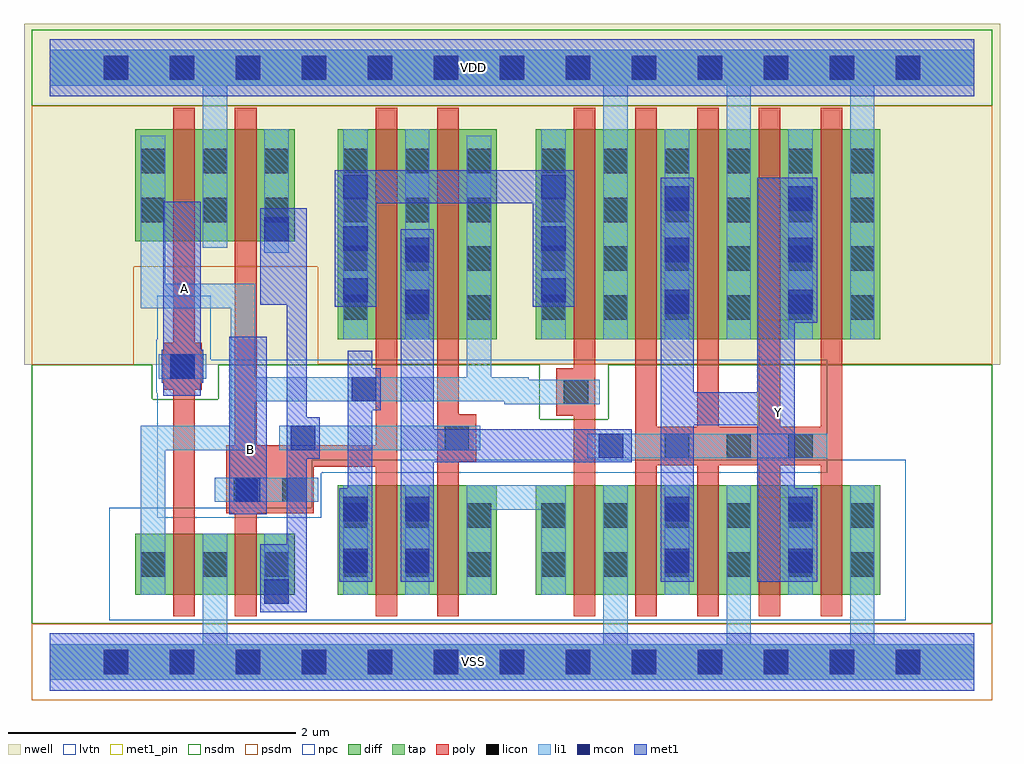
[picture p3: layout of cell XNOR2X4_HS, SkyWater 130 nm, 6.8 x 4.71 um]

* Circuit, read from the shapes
.subckt XNOR2X4_HS A B VDD VSS Y
XM1 VSS A n1 VSS sky130_fd_pr__nfet_01v8_lvt w=0.425 l=0.15
XM2 n2 B VSS VSS sky130_fd_pr__nfet_01v8_lvt w=0.425 l=0.15
XM3 n3 B n1 VSS sky130_fd_pr__nfet_01v8_lvt w=0.76 l=0.15
XM4 n4 n2 n3 VSS sky130_fd_pr__nfet_01v8_lvt w=0.76 l=0.15
XM5 VSS n1 n4 VSS sky130_fd_pr__nfet_01v8_lvt w=0.76 l=0.15
XM6 Y n3 VSS VSS sky130_fd_pr__nfet_01v8_lvt w=0.76 l=0.15 m=4
XM7 VDD A n1 VDD sky130_fd_pr__pfet_01v8 w=0.78 l=0.15
XM8 n2 B VDD VDD sky130_fd_pr__pfet_01v8 w=0.78 l=0.15
XM9 n3 B n5 VDD sky130_fd_pr__pfet_01v8 w=1.46 l=0.15
XM10 n1 n2 n3 VDD sky130_fd_pr__pfet_01v8 w=1.46 l=0.15
XM11 VDD n1 n5 VDD sky130_fd_pr__pfet_01v8 w=1.46 l=0.15
XM12 Y n3 VDD VDD sky130_fd_pr__pfet_01v8 w=1.46 l=0.15 m=4
.ends

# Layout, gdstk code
from math import pi, radians
import gdstk
lib = gdstk.Library(unit=1e-6, precision=1e-09)
def R(c, l, rs):  # rectangles x0, y0, x1, y1
    for r in rs: c.add(gdstk.rectangle(r[:2], r[2:], *l))
def A(c, l, x, y, w, h, nx, ny, dx, dy):  # array of equal rectangles
    R(c, l, [(x+i*dx, y+j*dy, x+i*dx+w, y+j*dy+h) for i in range(nx) for j in range(ny)])
def P(c, l, *ps):  # polygons
    for p in ps: c.add(gdstk.Polygon(p, *l))
nwell = (64, 20)
diff = (65, 20)
tap = (65, 44)
poly = (66, 20)
licon = (66, 44)
li1 = (67, 20)
mcon = (67, 44)
met1_pin = (68, 16)
met1 = (68, 20)
nsdm = (93, 44)
psdm = (94, 20)
npc = (95, 20)
lvtn = (125, 44)

polyconn_cdns_7587291728 = lib.new_cell('polyConn_CDNS_758729172860')
R(polyconn_cdns_7587291728, poly, [(-0.165,-0.135,0.165,0.135)])
R(polyconn_cdns_7587291728, licon, [(-0.085,-0.085,0.085,0.085)])
R(polyconn_cdns_7587291728, li1, [(-0.085,-0.165,0.085,0.165)])
R(polyconn_cdns_7587291728, mcon, [(-0.085,-0.085,0.085,0.085)])
R(polyconn_cdns_7587291728, met1, [(-0.115,-0.145,0.115,0.145)])
R(polyconn_cdns_7587291728, npc, [(-0.185,-0.185,0.185,0.185)])

pyl1con_c_cdns_758729172 = lib.new_cell('PYL1CON_C_CDNS_758729172862')
R(pyl1con_c_cdns_758729172, poly, [(-0.135,-0.165,0.135,0.165)])
R(pyl1con_c_cdns_758729172, licon, [(-0.085,-0.085,0.085,0.085)])
R(pyl1con_c_cdns_758729172, npc, [(-0.185,-0.185,0.185,0.185)])

l1m1_c_cdns_758729172861 = lib.new_cell('L1M1_C_CDNS_758729172861')
R(l1m1_c_cdns_758729172861, li1, [(-0.085,-0.165,0.085,0.165)])
R(l1m1_c_cdns_758729172861, mcon, [(-0.085,-0.085,0.085,0.085)])
R(l1m1_c_cdns_758729172861, met1, [(-0.115,-0.145,0.115,0.145)])

l1m1_c_cdns_758729172860 = lib.new_cell('L1M1_C_CDNS_758729172860')
R(l1m1_c_cdns_758729172860, li1, [(-0.165,-0.085,0.165,0.085)])
R(l1m1_c_cdns_758729172860, mcon, [(-0.085,-0.085,0.085,0.085)])
R(l1m1_c_cdns_758729172860, met1, [(-0.115,-0.145,0.115,0.145)])

l1m1_c_cdns_758729172864 = lib.new_cell('L1M1_C_CDNS_758729172864')
R(l1m1_c_cdns_758729172864, li1, [(-0.085,-0.345,0.085,0.345)])
R(l1m1_c_cdns_758729172864, mcon, [(-0.085,-0.265,0.085,-0.095), (-0.085,0.095,0.085,0.265)])
R(l1m1_c_cdns_758729172864, met1, [(-0.115,-0.325,0.115,0.325)])

l1m1_c_cdns_758729172863 = lib.new_cell('L1M1_C_CDNS_758729172863')
R(l1m1_c_cdns_758729172863, li1, [(-0.085,-0.165,0.085,0.165)])
R(l1m1_c_cdns_758729172863, mcon, [(-0.085,-0.085,0.085,0.085)])
R(l1m1_c_cdns_758729172863, met1, [(-0.145,-0.115,0.145,0.115)])

l1m1_c_cdns_758729172865 = lib.new_cell('L1M1_C_CDNS_758729172865')
R(l1m1_c_cdns_758729172865, li1, [(-0.165,-0.085,0.165,0.085)])
R(l1m1_c_cdns_758729172865, mcon, [(-0.085,-0.085,0.085,0.085)])
R(l1m1_c_cdns_758729172865, met1, [(-0.145,-0.115,0.145,0.115)])

c_l1m1_c_cdns_758729172861 = lib.new_cell('L1M1_C_CDNS_7587291728615')
R(c_l1m1_c_cdns_758729172861, li1, [(-0.085,-0.525,0.085,0.525)])
A(c_l1m1_c_cdns_758729172861, mcon, -0.085, -0.445, 0.17, 0.17, 1, 3, 0, 0.36)
R(c_l1m1_c_cdns_758729172861, met1, [(-0.145,-0.475,0.145,0.475)])

c_l1m1_c_cdns_758729172861_ = lib.new_cell('L1M1_C_CDNS_7587291728613')
R(c_l1m1_c_cdns_758729172861_, li1, [(-0.085,-0.525,0.085,0.525)])
A(c_l1m1_c_cdns_758729172861_, mcon, -0.085, -0.445, 0.17, 0.17, 1, 3, 0, 0.36)
R(c_l1m1_c_cdns_758729172861_, met1, [(-0.115,-0.505,0.115,0.505)])

l1m1_c_cdns_758729172867 = lib.new_cell('L1M1_C_CDNS_758729172867')
R(l1m1_c_cdns_758729172867, li1, [(-0.085,-0.085,0.085,0.165)])
R(l1m1_c_cdns_758729172867, mcon, [(-0.085,-0.085,0.085,0.085)])
R(l1m1_c_cdns_758729172867, met1, [(-0.115,-0.145,0.115,0.145)])

xnor2x4_hs = lib.new_cell('XNOR2X4_HS')
R(xnor2x4_hs, nwell, [(-0.18,2.07,6.62,4.445)])
R(xnor2x4_hs, diff, [(0.595,0.47,1.705,0.895), (2.005,0.47,3.115,1.23), (3.385,0.47,5.785,1.23), (2.005,2.25,3.115,3.71), (3.385,2.25,5.785,3.71), (0.595,2.93,1.705,3.71)])
A(xnor2x4_hs, poly, 3.65, 0.32, 0.15, 3.54, 5, 1, 0.43, 0)
R(xnor2x4_hs, poly, [(0.86,0.32,1.01,3.86), (2.7,0.32,2.85,3.86)])
P(xnor2x4_hs, poly, [(2.42,3.86),(2.27,3.86),(2.27,1.51),(1.44,1.51),(1.44,3.86),(1.29,3.86),(1.29,1.51),(1.23,1.51),(1.23,1.035),(1.29,1.035),(1.29,0.32),(1.44,0.32),(1.44,1.035),(1.84,1.035),(1.84,1.36),(2.27,1.36),(2.27,0.32),(2.42,0.32)])
A(xnor2x4_hs, licon, 0.375, -0.085, 0.17, 0.17, 13, 2, 0.46, 4.14)
A(xnor2x4_hs, licon, 0.635, 0.595, 0.17, 0.17, 3, 2, 0.43, 2.47)
A(xnor2x4_hs, licon, 2.045, 0.595, 0.17, 0.17, 3, 2, 0.43, 0.34)
A(xnor2x4_hs, licon, 3.425, 0.595, 0.17, 0.17, 6, 2, 0.43, 0.34)
A(xnor2x4_hs, licon, 2.045, 2.385, 0.17, 0.17, 3, 4, 0.43, 0.34)
A(xnor2x4_hs, licon, 3.425, 2.385, 0.17, 0.17, 6, 4, 0.43, 0.34)
A(xnor2x4_hs, licon, 0.635, 3.405, 0.17, 0.17, 3, 1, 0.43, 0)
A(xnor2x4_hs, li1, 3.425, 2.25, 0.17, 1.46, 3, 1, 0.86, 0)
R(xnor2x4_hs, li1, [(1.495,0.47,1.665,0.895), (2.045,0.47,2.215,1.23), (2.475,0.47,2.645,1.23), (4.285,0.47,4.455,1.23), (5.145,0.47,5.315,1.23), (2.045,2.25,2.215,3.71), (2.475,2.25,2.645,3.71), (1.495,2.93,1.665,3.71)])
P(xnor2x4_hs, li1, [(3.595,1.23),(2.905,1.23),(2.905,0.47),(3.075,0.47),(3.075,1.06),(3.425,1.06),(3.425,0.47),(3.595,0.47)],
  [(3.83,1.965),(3.335,1.965),(3.335,1.985),(3.075,1.985),(3.075,3.665),(2.905,3.665),(2.905,1.985),(1.43,1.985),(1.43,2.635),(0.805,2.635),(0.805,3.665),(0.635,3.665),(0.635,2.465),(1.26,2.465),(1.26,1.645),(0.635,1.645),(0.635,0.47),(0.805,0.47),(0.805,1.475),(1.43,1.475),(1.43,1.815),(3.165,1.815),(3.165,1.795),(3.83,1.795)],
  [(6.44,4.265),(0,4.265),(0,4.015),(1.065,4.015),(1.065,2.885),(1.235,2.885),(1.235,4.015),(3.855,4.015),(3.855,2.25),(4.025,2.25),(4.025,4.015),(4.715,4.015),(4.715,2.25),(4.885,2.25),(4.885,4.015),(5.575,4.015),(5.575,2.25),(5.745,2.25),(5.745,4.015),(6.44,4.015)],
  [(6.44,0.125),(5.745,0.125),(5.745,1.23),(5.575,1.23),(5.575,0.125),(4.885,0.125),(4.885,1.23),(4.715,1.23),(4.715,0.125),(4.025,0.125),(4.025,1.23),(3.855,1.23),(3.855,0.125),(1.235,0.125),(1.235,0.895),(1.065,0.895),(1.065,0.125),(0,0.125),(0,-0.125),(6.44,-0.125)])
A(xnor2x4_hs, mcon, 0.375, -0.085, 0.17, 0.17, 13, 2, 0.46, 4.14)
R(xnor2x4_hs, met1_pin, [(1.25,1.03,1.51,2.265), (4.93,1.145,5.19,2.385), (0.79,1.855,1.05,3.205)])
P(xnor2x4_hs, met1, [(1.79,3.16),(1.465,3.16),(1.465,2.49),(1.65,2.49),(1.65,0.82),(1.465,0.82),(1.465,0.345),(1.79,0.345)],
  [(4.055,1.62),(2.675,1.62),(2.675,2.97),(2.445,2.97),(2.445,0.56),(2.675,0.56),(2.675,1.39),(4.055,1.39)],
  [(5.19,3.375),(4.93,3.375),(4.93,1.88),(4.485,1.88),(4.485,3.33),(4.255,3.33),(4.255,0.56),(4.485,0.56),(4.485,1.65),(4.93,1.65),(4.93,0.56),(5.19,0.56)])
R(xnor2x4_hs, nsdm, [(-0.125,3.875,6.565,4.405)])
P(xnor2x4_hs, nsdm, [(6.565,2.07),(3.89,2.07),(3.89,1.69),(3.415,1.69),(3.415,2.07),(1.175,2.07),(1.175,1.83),(0.715,1.83),(0.715,2.07),(-0.125,2.07),(-0.125,0.265),(6.565,0.265)])
R(xnor2x4_hs, psdm, [(-0.125,-0.265,6.565,0.265)])
P(xnor2x4_hs, psdm, [(6.565,3.875),(-0.125,3.875),(-0.125,2.07),(0.585,2.07),(0.585,2.755),(1.865,2.755),(1.865,2.075),(6.565,2.075)])
P(xnor2x4_hs, npc, [(5.415,2.105),(1.12,2.105),(1.12,2.55),(0.75,2.55),(0.75,1.005),(1.89,1.005),(1.89,1.32),(5.415,1.32)])
P(xnor2x4_hs, lvtn, [(5.965,1.41),(1.825,1.41),(1.825,1.075),(0.415,1.075),(0.415,0.29),(5.965,0.29)])
xnor2x4_hs.add(gdstk.FlexPath([(0,4.14),(6.44,4.14)], 0.4, ends="flush", simple_path=True, layer=68, datatype=16))  # met1_pin
xnor2x4_hs.add(gdstk.FlexPath([(0,0),(6.44,0)], 0.4, ends="flush", simple_path=True, layer=68, datatype=16))  # met1_pin
xnor2x4_hs.add(gdstk.FlexPath([(3,1.56),(1.6,1.56)], 0.17, ends="flush", simple_path=True, layer=67, datatype=20))  # li1
xnor2x4_hs.add(gdstk.FlexPath([(5.415,1.505),(3.745,1.505)], 0.17, ends="flush", simple_path=True, layer=67, datatype=20))  # li1
xnor2x4_hs.add(gdstk.FlexPath([(1.87,1.2),(1.15,1.2)], 0.17, ends="flush", simple_path=True, layer=67, datatype=20))  # li1
xnor2x4_hs.add(gdstk.FlexPath([(0,4.14),(6.44,4.14)], 0.25, ends="flush", simple_path=True, layer=65, datatype=44))  # tap
xnor2x4_hs.add(gdstk.FlexPath([(0,0),(6.44,0)], 0.25, ends="flush", simple_path=True, layer=65, datatype=44))  # tap
xnor2x4_hs.add(gdstk.FlexPath([(0,4.14),(6.44,4.14)], 0.4, ends="flush", simple_path=True, layer=68, datatype=20))  # met1
xnor2x4_hs.add(gdstk.FlexPath([(0,0),(6.44,0)], 0.4, ends="flush", simple_path=True, layer=68, datatype=20))  # met1
xnor2x4_hs.add(gdstk.FlexPath([(1.38,1.03),(1.38,2.265)], 0.26, ends="flush", simple_path=True, layer=68, datatype=20))  # met1
xnor2x4_hs.add(gdstk.FlexPath([(0.92,1.855),(0.92,3.205)], 0.26, ends="flush", simple_path=True, layer=68, datatype=20))  # met1
xnor2x4_hs.add(gdstk.FlexPath([(2.16,0.585),(2.16,2.17)], 0.17, ends="flush", simple_path=True, layer=68, datatype=20))  # met1
xnor2x4_hs.add(gdstk.FlexPath([(1.985,3.31),(3.655,3.31)], 0.23, ends="flush", simple_path=True, layer=68, datatype=20))  # met1
xnor2x4_hs.add(gdstk.Reference(polyconn_cdns_7587291728, (0.925,2.06), rotation=pi/2))
xnor2x4_hs.add(gdstk.Reference(pyl1con_c_cdns_758729172, (4.8,1.505), rotation=3*pi/2, x_reflection=True))
xnor2x4_hs.add(gdstk.Reference(pyl1con_c_cdns_758729172, (4.37,1.505), rotation=3*pi/2, x_reflection=True))
xnor2x4_hs.add(gdstk.Reference(pyl1con_c_cdns_758729172, (2.835,1.56), x_reflection=True))
xnor2x4_hs.add(gdstk.Reference(pyl1con_c_cdns_758729172, (3.665,1.88), x_reflection=True))
xnor2x4_hs.add(gdstk.Reference(pyl1con_c_cdns_758729172, (1.705,1.2), x_reflection=True))
xnor2x4_hs.add(gdstk.Reference(pyl1con_c_cdns_758729172, (5.23,1.505), rotation=3*pi/2, x_reflection=True))
xnor2x4_hs.add(gdstk.Reference(pyl1con_c_cdns_758729172, (1.365,1.2), rotation=pi, x_reflection=True))
xnor2x4_hs.add(gdstk.Reference(l1m1_c_cdns_758729172861, (1.58,3.015)))
xnor2x4_hs.add(gdstk.Reference(l1m1_c_cdns_758729172860, (2.19,1.9)))
xnor2x4_hs.add(gdstk.Reference(l1m1_c_cdns_758729172860, (1.38,1.2), x_reflection=True))
xnor2x4_hs.add(gdstk.Reference(l1m1_c_cdns_758729172864, (2.13,0.885)))
xnor2x4_hs.add(gdstk.Reference(l1m1_c_cdns_758729172864, (5.23,0.885)))
xnor2x4_hs.add(gdstk.Reference(l1m1_c_cdns_758729172864, (4.37,0.885)))
xnor2x4_hs.add(gdstk.Reference(l1m1_c_cdns_758729172864, (2.56,2.69)))
xnor2x4_hs.add(gdstk.Reference(l1m1_c_cdns_758729172864, (2.56,0.885)))
xnor2x4_hs.add(gdstk.Reference(l1m1_c_cdns_758729172863, (1.765,1.56), rotation=pi/2))
xnor2x4_hs.add(gdstk.Reference(l1m1_c_cdns_758729172865, (3.91,1.505)))
xnor2x4_hs.add(gdstk.Reference(c_l1m1_c_cdns_758729172861, (2.13,2.95)))
xnor2x4_hs.add(gdstk.Reference(c_l1m1_c_cdns_758729172861, (3.51,2.95)))
xnor2x4_hs.add(gdstk.Reference(c_l1m1_c_cdns_758729172861_, (5.23,2.87)))
xnor2x4_hs.add(gdstk.Reference(c_l1m1_c_cdns_758729172861_, (4.37,2.87)))
xnor2x4_hs.add(gdstk.Reference(l1m1_c_cdns_758729172867, (1.58,0.49)))
xnor2x4_hs.add(gdstk.Label('VDD', (2.95,4.145), layer=68, texttype=5))
xnor2x4_hs.add(gdstk.Label('A', (0.935,2.605), layer=68, texttype=5))
xnor2x4_hs.add(gdstk.Label('Y', (5.075,1.74), layer=68, texttype=5))
xnor2x4_hs.add(gdstk.Label('B', (1.395,1.48), layer=68, texttype=5))
xnor2x4_hs.add(gdstk.Label('VSS', (2.95,0.005), layer=68, texttype=5))

lib.write_gds('XNOR2X4_HS.gds')
